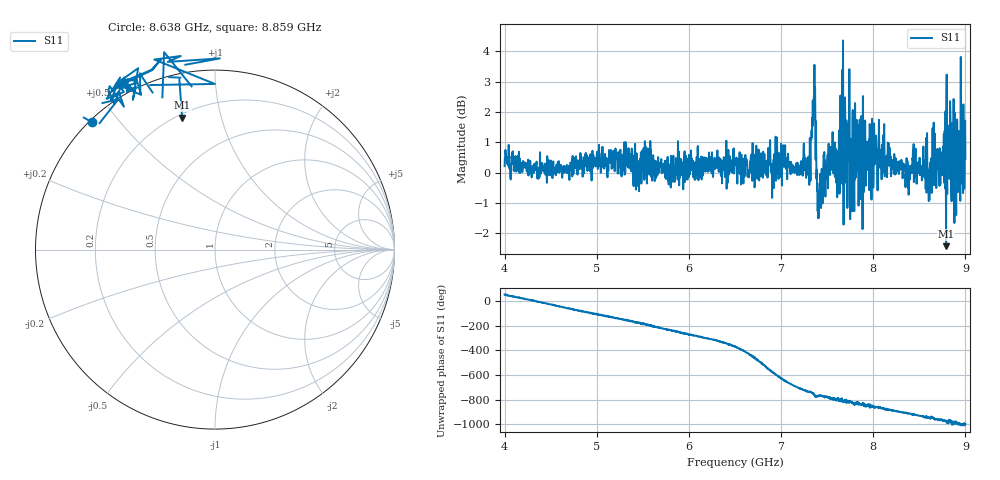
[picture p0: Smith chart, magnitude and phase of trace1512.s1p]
! Created with skrf 1.8.0 (http://scikit-rf.org).
# Hz S RI R 50.0
!freq ReS11 ImS11
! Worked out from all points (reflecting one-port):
!   1601 points, 4 GHz to 9 GHz, reference 50 ohm
!   lowest |S11| = -2.4 dB at 8.791 GHz (marker M1), VSWR 7.23, Z = 11 + j37.9 ohm
!   phase of S11 starts at 51 deg and turns -1048 deg over the sweep
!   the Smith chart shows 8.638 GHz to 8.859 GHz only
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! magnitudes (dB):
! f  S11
! 4 GHz  0.2
! 4.625 GHz  -0.2
! 5.25 GHz  0.2
! 5.875 GHz  0.1
! 6.5 GHz  0.4
! 7.125 GHz  0.0
! 7.294 GHz  0.0
! 7.347 GHz  1.7
! 7.369 GHz  2.8
! 7.397 GHz  -1.3
! 7.412 GHz  -0.8
! 7.541 GHz  0.1
! 7.616 GHz  0.6
! 7.669 GHz  0.4
! 7.691 GHz  1.1
! 7.703 GHz  -0.3
! 7.75 GHz  -1.5
! 7.775 GHz  1.7
! 7.828 GHz  1.6
! 8.375 GHz  -0.1
! 8.434 GHz  0.0
! 8.612 GHz  0.1
! 8.656 GHz  1.7
! 8.791 GHz  -2.4
! 8.819 GHz  0.4
! 8.9 GHz  -1.4
! 8.953 GHz  -0.4
! 9 GHz  0.5
